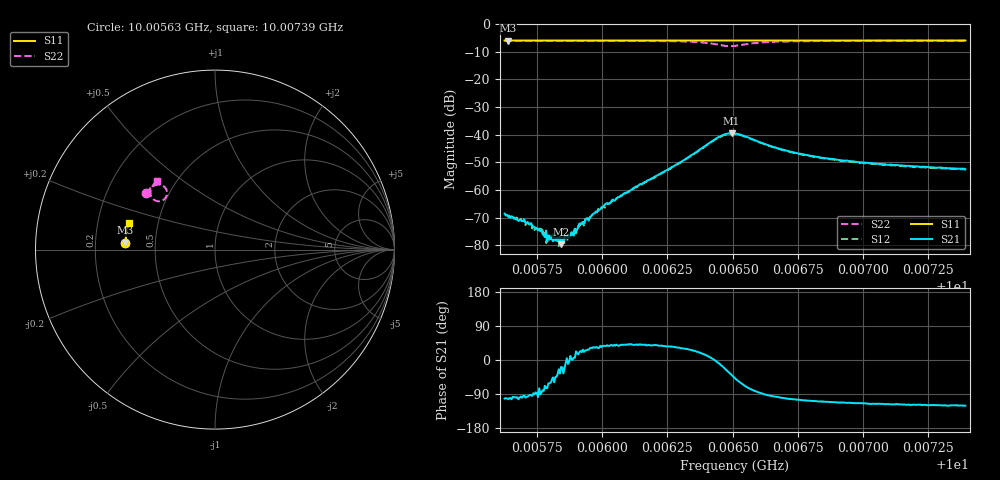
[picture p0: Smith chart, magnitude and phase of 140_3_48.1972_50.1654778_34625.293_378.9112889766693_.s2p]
#  HZ  S  RI  R  50.00
! Rohde & Schwarz Vector Network Analyzer
! Rohde-Schwarz,ZNB20-2Port,1311601062101988,3.16
! Created: UTC 3/20/2024, 11:42:17 AM
! freq[Hz]  re:S11  im:S11  re:S21  im:S21  re:S12  im:S12  re:S22  im:S22
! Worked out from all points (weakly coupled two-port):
!   401 points, 10.00563 GHz to 10.00739 GHz, reference 50 ohm
!   highest |S21| = -39.48 dB at 10.0065 GHz (marker M1); lowest = -79.6 dB at 10.00584 GHz (marker M2)
!   lowest |S11| = -6.0 dB at 10.00564 GHz (marker M3), VSWR 3.01, Z = 16.7 + j1.74 ohm
!   |S11| at or under -10 dB: nowhere
!   |S22| runs from -8.0 to -6.0 dB; largest |S21 - S12| = 0.00064
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1.0005625e10  -0.4995 0.0383  -7.48e-05 -0.000364  -5.51e-05 -0.000336  -0.3846 0.315
1.0005638e10  -0.4993 0.0392  -7.53e-05 -0.000319  -4.49e-05 -0.000336  -0.3839 0.3158
1.0005718e10  -0.499 0.0443  -1.52e-05 -0.000244  -2.08e-05 -0.000237  -0.3802 0.3207
1.000574e10  -0.4991 0.0457  -1.19e-06 -0.000208  5.61e-06 -0.000188  -0.379 0.3219
1.0005771e10  -0.4989 0.0476  2.85e-05 -0.000156  3.83e-05 -0.000183  -0.3776 0.324
1.0005776e10  -0.4988 0.0481  2.25e-05 -0.000149  3.12e-05 -0.000145  -0.3772 0.3242
1.0005793e10  -0.4989 0.0491  7.04e-05 -0.000132  4.91e-05 -0.000139  -0.3763 0.3252
1.0005811e10  -0.4987 0.0502  8.19e-05 -8.45e-05  0.000111 -0.000115  -0.3755 0.3264
1.0005829e10  -0.4986 0.0514  9.31e-05 -7.26e-05  8.96e-05 -7.84e-05  -0.3745 0.3275
1.0005842e10  -0.4986 0.0523  9.89e-05 -3.37e-05  0.000123 -2.03e-05  -0.3737 0.3284
1.0005864e10  -0.4985 0.0538  0.00015 1.25e-05  0.000136 -2.49e-05  -0.3725 0.3297
1.0005895e10  -0.4982 0.0558  0.000193 1.99e-05  0.000203 7.32e-05  -0.3706 0.3317
1.0005921e10  -0.4982 0.0575  0.00024 9.04e-05  0.000204 9.97e-05  -0.369 0.3336
1.0005992e10  -0.4977 0.0621  0.000353 0.000269  0.000374 0.000277  -0.3644 0.3383
1.0006218e10  -0.496 0.0767  0.00151 0.00116  0.00143 0.00122  -0.3422 0.3552
1.0006443e10  -0.4933 0.0912  0.00878 -0.00104  0.00862 -0.00055  -0.2689 0.3288
1.0006496e10  -0.4926 0.0939  0.00815 -0.00681  0.00833 -0.00623  -0.2852 0.2781
1.0006509e10  -0.4926 0.0946  0.00698 -0.00787  0.00726 -0.0073  -0.298 0.2713
1.0006682e10  -0.4917 0.1057  -0.000826 -0.00545  -0.000577 -0.00537  -0.3602 0.3198
1.0006805e10  -0.4903 0.1137  -0.00128 -0.0039  -0.00108 -0.00388  -0.3549 0.3411
1.0007102e10  -0.4861 0.1325  -0.00127 -0.00257  -0.00114 -0.00256  -0.338 0.367
1.0007393e10  -0.4815 0.1506  -0.0012 -0.00204  -0.0011 -0.00206  -0.3223 0.3839
